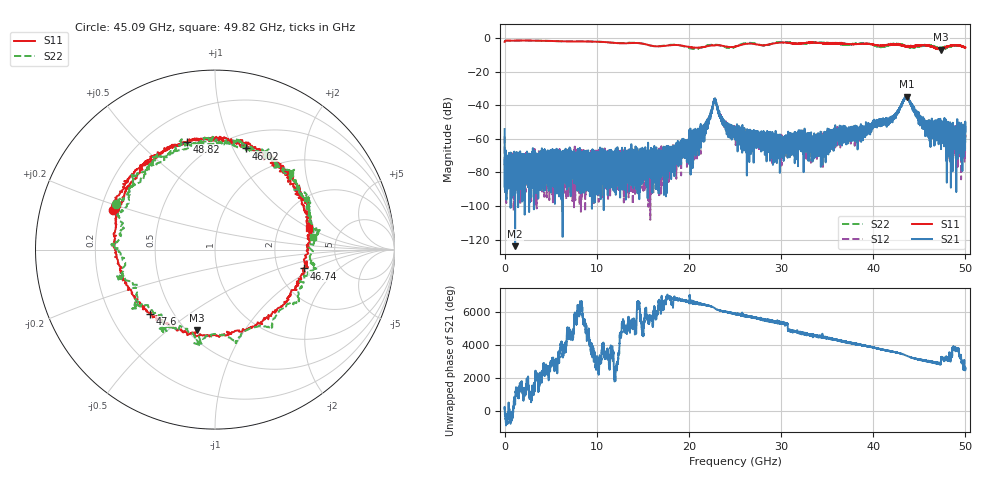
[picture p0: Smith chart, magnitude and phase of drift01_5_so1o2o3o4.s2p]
!Created with skrf (http://scikit-rf.org).
# Hz S RI R 50.0
!freq ReS11 ImS11 ReS21 ImS21 ReS12 ImS12 ReS22 ImS22
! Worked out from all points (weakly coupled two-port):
!   10001 points, 300 kHz to 50 GHz, reference 50 ohm
!   highest |S21| = -34.80 dB at 43.64 GHz (marker M1); lowest = -123.9 dB at 1.14 GHz (marker M2)
!   lowest |S11| = -6.7 dB at 47.37 GHz (marker M3), VSWR 2.70, Z = 27.9 - j31.8 ohm
!   |S11| at or under -10 dB: nowhere
!   |S22| runs from -6.6 to -1.4 dB; largest |S21 - S12| = 0.0039
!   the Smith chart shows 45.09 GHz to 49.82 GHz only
!   S11 on the Smith chart (normalised r, x): 45.09 GHz: 0.25, +0.17; 46.02 GHz: 0.65, +1.12; 46.74 GHz: 2.79, -0.78; 47.6 GHz: 0.37, -0.36; 48.82 GHz: 0.36, +0.71; 49.82 GHz: 2.96, +1.00
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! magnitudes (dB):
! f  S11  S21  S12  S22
! 300 kHz  -2.1  -54.2  -58.5  -2.2
! 260.3 MHz  -1.4  -91.0  -77.1  -1.4
! 1.14 GHz  -1.5  -123.9  -84.9  -1.5
! 8.335 GHz  -1.9  -70.6  -68.8  -1.8
! 16.67 GHz  -4.9  -70.2  -71.0  -4.8
! 20.53 GHz  -5.6  -55.6  -62.3  -6.3
! 21.73 GHz  -5.1  -54.1  -53.6  -4.8
! 22.79 GHz  -4.3  -36.4  -36.2  -3.9
! 23.87 GHz  -4.8  -50.9  -52.9  -5.3
! 25 GHz  -5.0  -52.6  -57.6  -5.2
! 29.69 GHz  -2.8  -63.0  -65.2  -2.6
! 33.34 GHz  -2.6  -65.2  -63.7  -2.7
! 41.67 GHz  -3.9  -48.1  -48.7  -4.1
! 43.64 GHz  -4.9  -34.8  -35.4  -5.1
! 45.09 GHz  -4.3  -49.4  -48.6  -4.3
! 46.02 GHz  -4.6  -52.1  -52.9  -4.5
! 46.74 GHz  -5.9  -54.1  -59.2  -4.8
! 47.37 GHz  -6.7  -53.6  -56.9  -6.0
! 47.6 GHz  -5.9  -53.3  -53.2  -5.3
! 48.82 GHz  -4.1  -62.1  -54.3  -4.6
! 49.82 GHz  -5.4  -67.6  -55.6  -5.2
! 50 GHz  -5.6  -55.6  -57.7  -5.4
